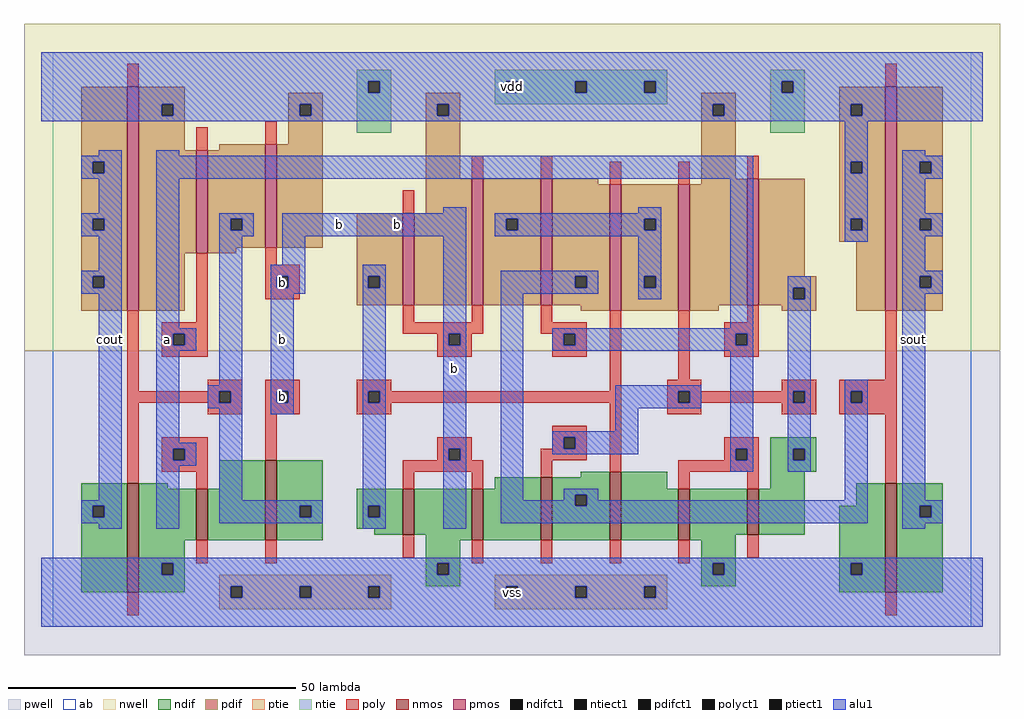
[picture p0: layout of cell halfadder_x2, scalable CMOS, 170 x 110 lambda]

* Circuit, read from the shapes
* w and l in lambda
.subckt halfadder_x2 a b cout sout vdd vss
M1 vss n1 cout vss nfet w=19 l=2
M2 n2 a vss vss nfet w=9 l=2
M3 n1 b n2 vss nfet w=14 l=2
M4 vss b n3 vss nfet w=8 l=2
M5 n4 b vss vss nfet w=9 l=2
M6 n5 n6 n4 vss nfet w=11 l=2
M7 n7 n3 n5 vss nfet w=12 l=2
M8 vss a n7 vss nfet w=9 l=2
M9 n6 a vss vss nfet w=8 l=2
M10 sout n5 vss vss nfet w=19 l=2
M11 vdd n1 cout vdd pfet w=39 l=2
M12 n1 a vdd vdd pfet w=18 l=2
M13 vdd b n1 vdd pfet w=18 l=2
M14 vdd b n3 vdd pfet w=16 l=2
M15 n8 b vdd vdd pfet w=22 l=2
M16 n5 a n8 vdd pfet w=22 l=2
M17 n8 n3 n5 vdd pfet w=22 l=2
M18 vdd n6 n8 vdd pfet w=22 l=2
M19 n6 a vdd vdd pfet w=22 l=2
M20 sout n5 vdd vdd pfet w=39 l=2
.ends

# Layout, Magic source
magic
tech scmos
<< ab >>
rect 0 0 160 100
<< nwell >>
rect -5 48 165 105
<< pwell >>
rect -5 -5 165 48
<< poly >>
rect 13 94 15 98
rect 145 94 147 98
rect 25 83 27 87
rect 37 84 39 88
rect 73 78 75 82
rect 85 78 87 82
rect 61 72 63 76
rect 13 41 15 55
rect 25 53 27 65
rect 37 63 39 66
rect 37 61 43 63
rect 37 59 39 61
rect 41 59 43 61
rect 37 57 43 59
rect 97 77 99 81
rect 109 77 111 81
rect 121 78 123 82
rect 19 51 27 53
rect 61 53 63 56
rect 73 53 75 56
rect 61 51 75 53
rect 85 53 87 56
rect 85 51 93 53
rect 19 49 21 51
rect 23 49 27 51
rect 19 47 27 49
rect 67 49 69 51
rect 71 49 73 51
rect 67 47 73 49
rect 87 49 89 51
rect 91 49 93 51
rect 87 47 93 49
rect 27 41 33 43
rect 13 39 29 41
rect 31 39 33 41
rect 13 25 15 39
rect 27 37 33 39
rect 37 41 43 43
rect 37 39 39 41
rect 41 39 43 41
rect 37 37 43 39
rect 53 41 59 43
rect 97 41 99 55
rect 109 43 111 55
rect 121 53 123 56
rect 117 51 123 53
rect 117 49 119 51
rect 121 49 123 51
rect 117 47 123 49
rect 145 43 147 55
rect 53 39 55 41
rect 57 39 99 41
rect 53 37 59 39
rect 19 31 27 33
rect 19 29 21 31
rect 23 29 27 31
rect 37 29 39 37
rect 87 33 93 35
rect 67 31 73 33
rect 87 31 89 33
rect 91 31 93 33
rect 67 29 69 31
rect 71 29 73 31
rect 85 29 93 31
rect 19 27 27 29
rect 25 24 27 27
rect 61 27 75 29
rect 61 24 63 27
rect 73 24 75 27
rect 85 26 87 29
rect 97 27 99 39
rect 107 41 113 43
rect 127 41 133 43
rect 107 39 109 41
rect 111 39 129 41
rect 131 39 133 41
rect 107 37 113 39
rect 127 37 133 39
rect 137 41 147 43
rect 137 39 139 41
rect 141 39 147 41
rect 137 37 147 39
rect 117 31 123 33
rect 117 29 119 31
rect 121 29 123 31
rect 109 27 123 29
rect 25 11 27 15
rect 37 11 39 15
rect 61 12 63 16
rect 109 24 111 27
rect 121 24 123 27
rect 145 25 147 37
rect 73 11 75 15
rect 85 11 87 15
rect 97 11 99 15
rect 109 11 111 15
rect 121 12 123 16
rect 13 2 15 6
rect 145 2 147 6
<< ndif >>
rect 5 21 13 25
rect 5 19 7 21
rect 9 19 13 21
rect 5 6 13 19
rect 15 24 20 25
rect 29 24 37 29
rect 15 15 25 24
rect 27 15 37 24
rect 39 21 47 29
rect 92 26 97 27
rect 77 24 85 26
rect 39 19 43 21
rect 45 19 47 21
rect 39 15 47 19
rect 53 21 61 24
rect 53 19 55 21
rect 57 19 61 21
rect 53 17 61 19
rect 56 16 61 17
rect 63 16 73 24
rect 15 11 23 15
rect 65 15 73 16
rect 75 15 85 24
rect 87 23 97 26
rect 87 21 91 23
rect 93 21 97 23
rect 87 15 97 21
rect 99 24 107 27
rect 125 31 133 33
rect 125 29 129 31
rect 131 29 133 31
rect 125 27 133 29
rect 125 24 131 27
rect 99 15 109 24
rect 111 16 121 24
rect 123 16 131 24
rect 140 21 145 25
rect 111 15 119 16
rect 65 11 71 15
rect 113 11 119 15
rect 15 9 19 11
rect 21 9 23 11
rect 65 9 67 11
rect 69 9 71 11
rect 113 9 115 11
rect 117 9 119 11
rect 15 6 23 9
rect 65 7 71 9
rect 113 7 119 9
rect 137 11 145 21
rect 137 9 139 11
rect 141 9 145 11
rect 137 6 145 9
rect 147 21 155 25
rect 147 19 151 21
rect 153 19 155 21
rect 147 6 155 19
<< pdif >>
rect 5 81 13 94
rect 5 79 7 81
rect 9 79 13 81
rect 5 71 13 79
rect 5 69 7 71
rect 9 69 13 71
rect 5 61 13 69
rect 5 59 7 61
rect 9 59 13 61
rect 5 55 13 59
rect 15 91 23 94
rect 15 89 19 91
rect 21 89 23 91
rect 15 83 23 89
rect 41 91 47 93
rect 41 89 43 91
rect 45 89 47 91
rect 41 84 47 89
rect 65 91 71 93
rect 113 91 119 93
rect 65 89 67 91
rect 69 89 71 91
rect 29 83 37 84
rect 15 65 25 83
rect 27 71 37 83
rect 27 69 31 71
rect 33 69 37 71
rect 27 66 37 69
rect 39 66 47 84
rect 65 78 71 89
rect 113 89 115 91
rect 117 89 119 91
rect 65 72 73 78
rect 27 65 32 66
rect 15 55 23 65
rect 53 61 61 72
rect 53 59 55 61
rect 57 59 61 61
rect 53 56 61 59
rect 63 56 73 72
rect 75 71 85 78
rect 75 69 79 71
rect 81 69 85 71
rect 75 56 85 69
rect 87 77 95 78
rect 113 78 119 89
rect 137 91 145 94
rect 137 89 139 91
rect 141 89 145 91
rect 137 81 145 89
rect 137 79 139 81
rect 141 79 145 81
rect 113 77 121 78
rect 87 61 97 77
rect 87 59 91 61
rect 93 59 97 61
rect 87 56 97 59
rect 92 55 97 56
rect 99 71 109 77
rect 99 69 103 71
rect 105 69 109 71
rect 99 61 109 69
rect 99 59 103 61
rect 105 59 109 61
rect 99 55 109 59
rect 111 56 121 77
rect 123 61 131 78
rect 137 71 145 79
rect 137 69 139 71
rect 141 69 145 71
rect 137 67 145 69
rect 123 59 133 61
rect 123 57 129 59
rect 131 57 133 59
rect 123 56 133 57
rect 111 55 116 56
rect 127 55 133 56
rect 140 55 145 67
rect 147 81 155 94
rect 147 79 151 81
rect 153 79 155 81
rect 147 71 155 79
rect 147 69 151 71
rect 153 69 155 71
rect 147 61 155 69
rect 147 59 151 61
rect 153 59 155 61
rect 147 55 155 59
<< alu1 >>
rect -2 95 162 100
rect -2 93 55 95
rect 57 93 79 95
rect 81 93 91 95
rect 93 93 103 95
rect 105 93 127 95
rect 129 93 162 95
rect -2 91 162 93
rect -2 89 19 91
rect 21 89 43 91
rect 45 89 67 91
rect 69 89 115 91
rect 117 89 139 91
rect 141 89 162 91
rect -2 88 162 89
rect 8 82 12 83
rect 5 81 12 82
rect 5 79 7 81
rect 9 79 12 81
rect 5 78 12 79
rect 8 72 12 78
rect 5 71 12 72
rect 5 69 7 71
rect 9 69 12 71
rect 5 68 12 69
rect 8 62 12 68
rect 5 61 12 62
rect 5 59 7 61
rect 9 59 12 61
rect 5 58 12 59
rect 8 22 12 58
rect 5 21 12 22
rect 5 19 7 21
rect 9 19 12 21
rect 5 18 12 19
rect 8 17 12 18
rect 18 82 22 83
rect 18 78 122 82
rect 18 52 22 78
rect 68 72 72 73
rect 102 72 106 73
rect 29 71 35 72
rect 29 69 31 71
rect 33 69 35 71
rect 29 68 35 69
rect 40 68 72 72
rect 77 71 106 72
rect 77 69 79 71
rect 81 69 103 71
rect 105 69 106 71
rect 77 68 106 69
rect 18 51 25 52
rect 18 49 21 51
rect 23 49 25 51
rect 18 48 25 49
rect 18 32 22 48
rect 29 42 33 68
rect 40 63 44 68
rect 27 41 33 42
rect 27 39 29 41
rect 31 39 33 41
rect 27 38 33 39
rect 18 31 25 32
rect 18 29 21 31
rect 23 29 25 31
rect 18 28 25 29
rect 18 17 22 28
rect 29 22 33 38
rect 38 61 44 63
rect 38 59 39 61
rect 41 59 44 61
rect 38 58 44 59
rect 54 61 58 63
rect 54 59 55 61
rect 57 59 58 61
rect 38 41 42 58
rect 38 39 39 41
rect 41 39 42 41
rect 38 37 42 39
rect 54 41 58 59
rect 54 39 55 41
rect 57 39 58 41
rect 29 21 47 22
rect 29 19 43 21
rect 45 19 47 21
rect 29 18 47 19
rect 54 21 58 39
rect 54 19 55 21
rect 57 19 58 21
rect 54 17 58 19
rect 68 51 72 68
rect 68 49 69 51
rect 71 49 72 51
rect 68 31 72 49
rect 68 29 69 31
rect 71 29 72 31
rect 68 17 72 29
rect 78 61 95 62
rect 78 59 91 61
rect 93 59 95 61
rect 78 58 95 59
rect 102 61 106 68
rect 102 59 103 61
rect 105 59 106 61
rect 78 22 82 58
rect 102 57 106 59
rect 118 52 122 78
rect 138 81 142 88
rect 138 79 139 81
rect 141 79 142 81
rect 138 71 142 79
rect 138 69 139 71
rect 141 69 142 71
rect 138 67 142 69
rect 148 82 152 83
rect 148 81 155 82
rect 148 79 151 81
rect 153 79 155 81
rect 148 78 155 79
rect 148 72 152 78
rect 148 71 155 72
rect 148 69 151 71
rect 153 69 155 71
rect 148 68 155 69
rect 148 62 152 68
rect 148 61 155 62
rect 87 51 122 52
rect 87 49 89 51
rect 91 49 119 51
rect 121 49 122 51
rect 87 48 122 49
rect 98 41 113 42
rect 98 39 109 41
rect 111 39 113 41
rect 98 38 113 39
rect 98 34 102 38
rect 87 33 102 34
rect 87 31 89 33
rect 91 31 102 33
rect 87 30 102 31
rect 118 31 122 48
rect 118 29 119 31
rect 121 29 122 31
rect 118 27 122 29
rect 128 59 132 61
rect 128 57 129 59
rect 131 57 132 59
rect 128 41 132 57
rect 148 59 151 61
rect 153 59 155 61
rect 148 58 155 59
rect 128 39 129 41
rect 131 39 132 41
rect 128 31 132 39
rect 128 29 129 31
rect 131 29 132 31
rect 128 27 132 29
rect 138 41 142 43
rect 138 39 139 41
rect 141 39 142 41
rect 89 23 95 24
rect 89 22 91 23
rect 78 21 91 22
rect 93 22 95 23
rect 138 22 142 39
rect 93 21 142 22
rect 78 18 142 21
rect 148 22 152 58
rect 148 21 155 22
rect 148 19 151 21
rect 153 19 155 21
rect 148 18 155 19
rect 148 17 152 18
rect -2 11 162 12
rect -2 9 19 11
rect 21 9 67 11
rect 69 9 115 11
rect 117 9 139 11
rect 141 9 162 11
rect -2 7 162 9
rect -2 5 31 7
rect 33 5 43 7
rect 45 5 55 7
rect 57 5 79 7
rect 81 5 91 7
rect 93 5 103 7
rect 105 5 162 7
rect -2 0 162 5
<< ptie >>
rect 29 7 59 9
rect 77 7 107 9
rect 29 5 31 7
rect 33 5 43 7
rect 45 5 55 7
rect 57 5 59 7
rect 29 3 59 5
rect 77 5 79 7
rect 81 5 91 7
rect 93 5 103 7
rect 105 5 107 7
rect 77 3 107 5
<< ntie >>
rect 53 95 59 97
rect 53 93 55 95
rect 57 93 59 95
rect 77 95 107 97
rect 77 93 79 95
rect 81 93 91 95
rect 93 93 103 95
rect 105 93 107 95
rect 125 95 131 97
rect 125 93 127 95
rect 129 93 131 95
rect 53 86 59 93
rect 77 91 107 93
rect 125 86 131 93
<< nmos >>
rect 13 6 15 25
rect 25 15 27 24
rect 37 15 39 29
rect 61 16 63 24
rect 73 15 75 24
rect 85 15 87 26
rect 97 15 99 27
rect 109 15 111 24
rect 121 16 123 24
rect 145 6 147 25
<< pmos >>
rect 13 55 15 94
rect 25 65 27 83
rect 37 66 39 84
rect 61 56 63 72
rect 73 56 75 78
rect 85 56 87 78
rect 97 55 99 77
rect 109 55 111 77
rect 121 56 123 78
rect 145 55 147 94
<< polyct1 >>
rect 39 59 41 61
rect 21 49 23 51
rect 69 49 71 51
rect 89 49 91 51
rect 29 39 31 41
rect 39 39 41 41
rect 119 49 121 51
rect 55 39 57 41
rect 21 29 23 31
rect 89 31 91 33
rect 69 29 71 31
rect 109 39 111 41
rect 129 39 131 41
rect 139 39 141 41
rect 119 29 121 31
<< ndifct1 >>
rect 7 19 9 21
rect 43 19 45 21
rect 55 19 57 21
rect 91 21 93 23
rect 129 29 131 31
rect 19 9 21 11
rect 67 9 69 11
rect 115 9 117 11
rect 139 9 141 11
rect 151 19 153 21
<< ntiect1 >>
rect 55 93 57 95
rect 79 93 81 95
rect 91 93 93 95
rect 103 93 105 95
rect 127 93 129 95
<< ptiect1 >>
rect 31 5 33 7
rect 43 5 45 7
rect 55 5 57 7
rect 79 5 81 7
rect 91 5 93 7
rect 103 5 105 7
<< pdifct1 >>
rect 7 79 9 81
rect 7 69 9 71
rect 7 59 9 61
rect 19 89 21 91
rect 43 89 45 91
rect 67 89 69 91
rect 31 69 33 71
rect 115 89 117 91
rect 55 59 57 61
rect 79 69 81 71
rect 139 89 141 91
rect 139 79 141 81
rect 91 59 93 61
rect 103 69 105 71
rect 103 59 105 61
rect 139 69 141 71
rect 129 57 131 59
rect 151 79 153 81
rect 151 69 153 71
rect 151 59 153 61
<< labels >>
rlabel alu1 10 50 10 50 6 cout
rlabel alu1 20 50 20 50 6 a
rlabel polyct1 40 40 40 40 6 b
rlabel alu1 70 45 70 45 6 b
rlabel alu1 40 50 40 50 6 b
rlabel polyct1 40 60 40 60 6 b
rlabel alu1 50 70 50 70 6 b
rlabel alu1 60 70 60 70 6 b
rlabel ptiect1 80 6 80 6 6 vss
rlabel ntiect1 80 94 80 94 6 vdd
rlabel alu1 150 50 150 50 6 sout
<< end >>
